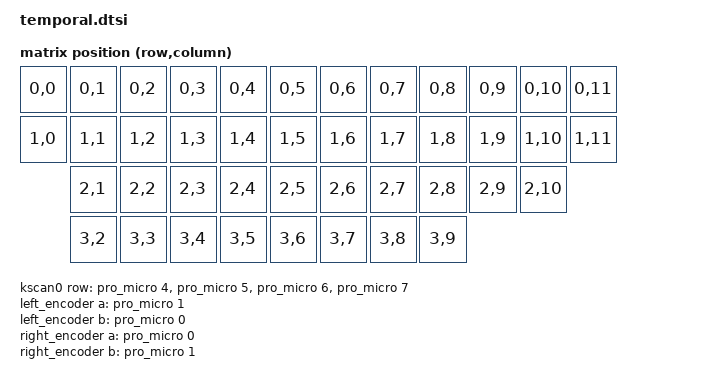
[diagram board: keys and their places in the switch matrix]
/*
 * Copyright (c) 2024 Curtis Bollinger
 *
 * SPDX-License-Identifier: MIT
 */

#include <dt-bindings/zmk/matrix_transform.h>

/ {
    chosen {
        zmk,kscan = &kscan0;
        zmk,matrix-transform = &default_transform;
    };

    /*
     * Temporal keyboard matrix layout (40-key version)
     *
     * Physical layout per side:
     * - 6 columns: extra, pinky, ring, middle, index, inner
     * - 4 rows: top, home, bottom, thumb
     * - Extra column skips bottom row
     * - Thumb row has encoder + 3 keys per side (no inner column)
     *
     * Left side:  columns 0-5  (extra=0, pinky=1, ring=2, middle=3, index=4, inner=5)
     * Right side: columns 6-11 (inner=6, index=7, middle=8, ring=9, pinky=10, extra=11)
     */
    default_transform: keymap_transform_0 {
        compatible = "zmk,matrix-transform";
        columns = <12>;
        rows = <4>;
        map = <
            // Row 0: Top row (6 + 6 = 12 keys)
            RC(0,0) RC(0,1) RC(0,2) RC(0,3) RC(0,4) RC(0,5)     RC(0,6) RC(0,7) RC(0,8) RC(0,9) RC(0,10) RC(0,11)
            // Row 1: Home row (6 + 6 = 12 keys)
            RC(1,0) RC(1,1) RC(1,2) RC(1,3) RC(1,4) RC(1,5)     RC(1,6) RC(1,7) RC(1,8) RC(1,9) RC(1,10) RC(1,11)
            // Row 2: Bottom row (5 + 5 = 10 keys, no extra column)
                    RC(2,1) RC(2,2) RC(2,3) RC(2,4) RC(2,5)     RC(2,6) RC(2,7) RC(2,8) RC(2,9) RC(2,10)
            // Row 3: Thumb row (4 + 4 = 8 keys, encoder + 3 thumb keys per side)
            // Thumb keys share columns with fingers: enc=ring(2), near=middle(3), mid=index(4), far=inner(5)
                    RC(3,2) RC(3,3) RC(3,4) RC(3,5)     RC(3,6) RC(3,7) RC(3,8) RC(3,9)
        >;
    };

    kscan0: kscan {
        compatible = "zmk,kscan-gpio-matrix";
        wakeup-source;

        diode-direction = "col2row";
        row-gpios
            = <&pro_micro 4 (GPIO_ACTIVE_HIGH | GPIO_PULL_DOWN)>  // row_top
            , <&pro_micro 5 (GPIO_ACTIVE_HIGH | GPIO_PULL_DOWN)>  // row_home
            , <&pro_micro 6 (GPIO_ACTIVE_HIGH | GPIO_PULL_DOWN)>  // row_bottom
            , <&pro_micro 7 (GPIO_ACTIVE_HIGH | GPIO_PULL_DOWN)>  // row_thumb
            ;
    };

    // Encoder configuration
    left_encoder: encoder_left {
        compatible = "alps,ec11";
        a-gpios = <&pro_micro 1 (GPIO_ACTIVE_HIGH | GPIO_PULL_UP)>;
        b-gpios = <&pro_micro 0 (GPIO_ACTIVE_HIGH | GPIO_PULL_UP)>;
        steps = <60>;
        status = "disabled";
    };

    right_encoder: encoder_right {
        compatible = "alps,ec11";
        a-gpios = <&pro_micro 0 (GPIO_ACTIVE_HIGH | GPIO_PULL_UP)>;
        b-gpios = <&pro_micro 1 (GPIO_ACTIVE_HIGH | GPIO_PULL_UP)>;
        steps = <60>;
        status = "disabled";
    };

    sensors: sensors {
        compatible = "zmk,keymap-sensors";
        sensors = <&left_encoder &right_encoder>;
        triggers-per-rotation = <20>;
    };
};
